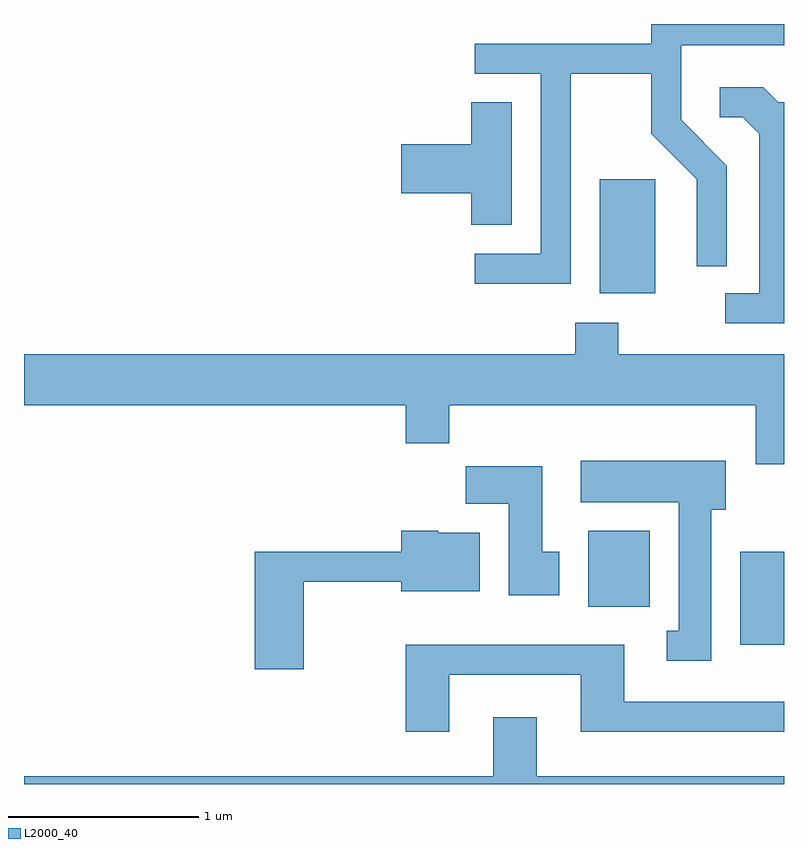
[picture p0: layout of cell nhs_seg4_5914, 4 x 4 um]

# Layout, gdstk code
import gdstk
lib = gdstk.Library(unit=1e-6, precision=1e-09)
def R(c, l, rs):  # rectangles x0, y0, x1, y1
    for r in rs: c.add(gdstk.rectangle(r[:2], r[2:], *l))
def P(c, l, *ps):  # polygons
    for p in ps: c.add(gdstk.Polygon(p, *l))
L2000_40 = (2000, 40)

nhs_seg4_5914 = lib.new_cell('nhs_seg4_5914')
R(nhs_seg4_5914, L2000_40, [(361.381,1386.716,361.611,1387.204), (360.581,1386.916,360.904,1387.314), (360.641,1388.566,360.934,1389.164)])
P(nhs_seg4_5914, L2000_40, [(360.489,1389.721),(360.911,1389.721),(360.911,1389.404),(361.151,1389.164),(361.151,1388.708),(361.309,1388.708),(361.309,1389.237),(361.069,1389.477),(361.069,1389.871),(361.611,1389.871),(361.611,1389.982),(360.911,1389.982),(360.911,1389.879),(359.983,1389.879),(359.983,1389.721),(360.331,1389.721),(360.331,1388.774),(359.983,1388.774),(359.983,1388.616),(360.489,1388.616)],
  [(361.611,1389.569),(361.582,1389.569),(361.502,1389.649),(361.273,1389.649),(361.273,1389.491),(361.394,1389.491),(361.481,1389.404),(361.481,1388.564),(361.303,1388.564),(361.303,1388.406),(361.611,1388.406)],
  [(360.179,1389.569),(359.966,1389.569),(359.966,1389.349),(359.596,1389.349),(359.596,1389.091),(359.966,1389.091),(359.966,1388.926),(360.179,1388.926)],
  [(361.611,1388.244),(360.739,1388.244),(360.739,1388.409),(360.511,1388.409),(360.511,1388.244),(357.611,1388.244),(357.611,1387.976),(359.621,1387.976),(359.621,1387.776),(359.849,1387.776),(359.849,1387.976),(361.461,1387.976),(361.461,1387.666),(361.611,1387.666)],
  [(361.229,1387.426),(361.304,1387.426),(361.304,1387.684),(360.541,1387.684),(360.541,1387.466),(361.056,1387.466),(361.056,1386.789),(360.993,1386.789),(360.993,1386.631),(361.229,1386.631)],
  [(360.429,1387.204),(360.339,1387.204),(360.339,1387.654),(359.936,1387.654),(359.936,1387.456),(360.161,1387.456),(360.161,1386.976),(360.429,1386.976)],
  [(359.084,1387.046),(359.596,1387.046),(359.596,1386.996),(360.009,1386.996),(360.009,1387.304),(359.79,1387.304),(359.79,1387.314),(359.596,1387.314),(359.596,1387.204),(358.826,1387.204),(358.826,1386.586),(359.084,1386.586)],
  [(359.849,1386.556),(360.541,1386.556),(360.541,1386.256),(361.611,1386.256),(361.611,1386.414),(360.769,1386.414),(360.769,1386.714),(359.621,1386.714),(359.621,1386.256),(359.849,1386.256)],
  [(361.611,1386.024),(360.309,1386.024),(360.309,1386.334),(360.081,1386.334),(360.081,1386.024),(357.611,1386.024),(357.611,1385.982),(361.611,1385.982)])

lib.write_gds('nhs_seg4_5914.gds')
